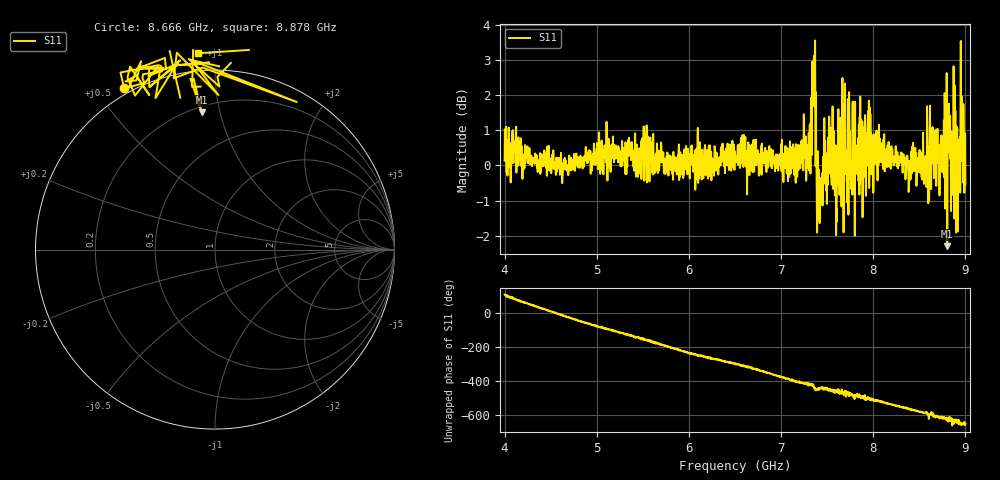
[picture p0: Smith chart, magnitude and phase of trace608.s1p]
! Created with skrf 1.8.0 (http://scikit-rf.org).
# Hz S RI R 50.0
!freq ReS11 ImS11
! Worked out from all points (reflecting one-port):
!   1601 points, 4 GHz to 9 GHz, reference 50 ohm
!   lowest |S11| = -2.3 dB at 8.803 GHz (marker M1), VSWR 7.61, Z = 11.8 + j44 ohm
!   phase of S11 starts at 109 deg and turns -759 deg over the sweep
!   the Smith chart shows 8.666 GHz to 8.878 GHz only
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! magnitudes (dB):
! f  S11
! 4 GHz  0.1
! 4.1 GHz  0.4
! 4.194 GHz  -0.4
! 4.625 GHz  -0.5
! 5.25 GHz  0.3
! 5.875 GHz  0.0
! 6.5 GHz  0.4
! 7.125 GHz  0.4
! 7.294 GHz  -0.1
! 7.347 GHz  2.3
! 7.362 GHz  3.1
! 7.397 GHz  -1.5
! 7.412 GHz  -0.8
! 7.538 GHz  1.1
! 7.588 GHz  -0.7
! 7.684 GHz  -0.5
! 7.75 GHz  0.4
! 7.775 GHz  1.7
! 7.962 GHz  1.7
! 7.997 GHz  0.5
! 8.134 GHz  0.2
! 8.375 GHz  0.0
! 8.803 GHz  -2.3
! 8.919 GHz  0.5
! 8.928 GHz  0.7
! 8.956 GHz  0.2
! 8.972 GHz  0.7
! 9 GHz  -0.5
